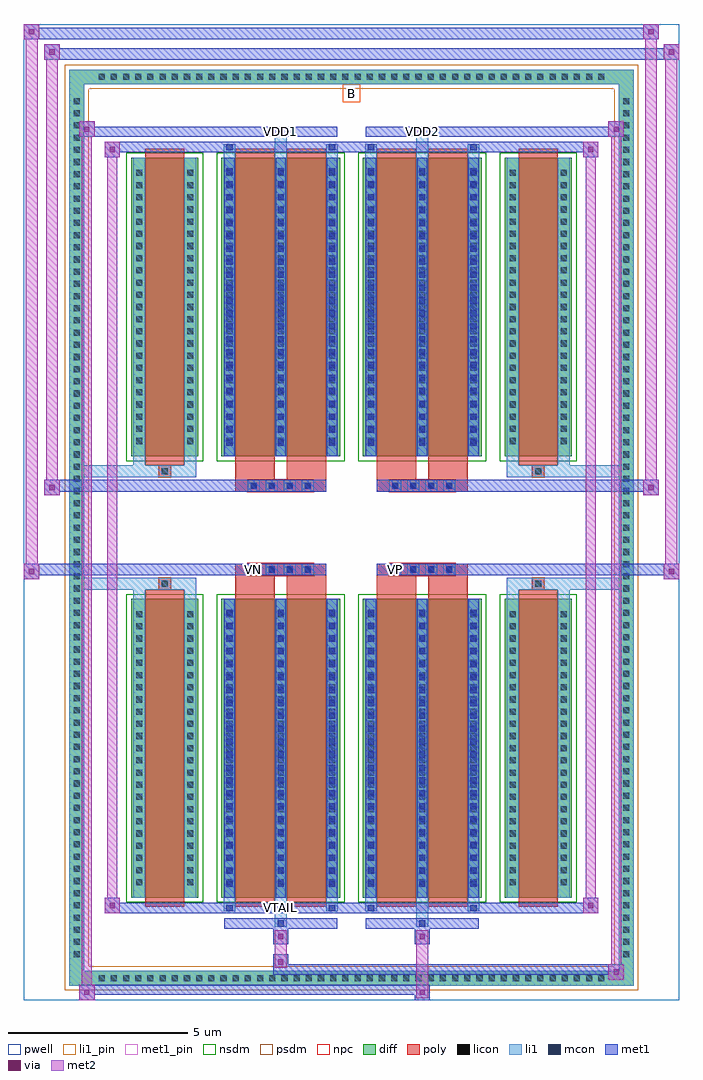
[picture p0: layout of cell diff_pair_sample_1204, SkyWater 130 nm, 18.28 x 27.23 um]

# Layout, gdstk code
import gdstk
lib = gdstk.Library(unit=1e-6, precision=5e-09)
def R(c, l, rs):  # rectangles x0, y0, x1, y1
    for r in rs: c.add(gdstk.rectangle(r[:2], r[2:], *l))
def A(c, l, x, y, w, h, nx, ny, dx, dy):  # array of equal rectangles
    R(c, l, [(x+i*dx, y+j*dy, x+i*dx+w, y+j*dy+h) for i in range(nx) for j in range(ny)])
def P(c, l, *ps):  # polygons
    for p in ps: c.add(gdstk.Polygon(p, *l))
pwell = (64, 44)
diff = (65, 20)
poly = (66, 20)
licon = (66, 44)
li1_pin = (67, 16)
li1 = (67, 20)
mcon = (67, 44)
met1_pin = (68, 16)
met1 = (68, 20)
via = (68, 44)
met2 = (69, 20)
nsdm = (93, 44)
psdm = (94, 20)
npc = (95, 20)

diff_pair_sample_1204 = lib.new_cell('diff_pair_sample_1204')
R(diff_pair_sample_1204, pwell, [(-9.14,-13.18,9.14,14.05), (-6.46,-11.37,-0.01,-0.805), (0.01,-11.37,6.46,-0.805), (-6.46,0.805,-0.01,11.37), (0.01,0.805,6.46,11.37)])
A(diff_pair_sample_1204, diff, -7.175, -12.78, 0.41, 0.41, 42, 2, 0.34, 25.15)
A(diff_pair_sample_1204, diff, -7.87, -12.105, 0.41, 0.41, 1, 71, 0, 0.34)
A(diff_pair_sample_1204, diff, 7.46, -12.105, 0.41, 0.41, 1, 71, 0, 0.34)
R(diff_pair_sample_1204, diff, [(-7.175,-12.78,7.175,-12.37), (-7.87,-12.105,-7.46,12.105), (7.46,-12.105,7.87,12.105), (-6.15,-10.325,-4.27,-1.985), (-3.63,-10.325,-0.32,-1.985), (0.32,-10.325,3.63,-1.985), (4.27,-10.325,6.15,-1.985), (-6.15,1.985,-4.27,10.325), (-3.63,1.985,-0.32,10.325), (0.32,1.985,3.63,10.325), (4.27,1.985,6.15,10.325), (-7.175,12.37,7.175,12.78)])
P(diff_pair_sample_1204, diff, [(7.87,12.78),(-7.87,12.78),(-7.87,-12.37),(-7.46,-12.37),(-7.46,12.37),(7.46,12.37),(7.46,-12.37),(-7.46,-12.37),(-7.87,-12.37),(-7.87,-12.78),(7.87,-12.78)])
A(diff_pair_sample_1204, poly, -2.89, -1.335, 0.33, 0.33, 4, 2, 0.5, 2.34)
A(diff_pair_sample_1204, poly, 1.06, -1.335, 0.33, 0.33, 4, 2, 0.5, 2.34)
R(diff_pair_sample_1204, poly, [(-5.76,-10.575,-4.66,-1.735), (-3.24,-10.575,-2.14,-1.735), (-1.81,-10.575,-0.71,-1.735), (0.71,-10.575,1.81,-1.735), (2.14,-10.575,3.24,-1.735), (4.66,-10.575,5.76,-1.735), (-5.375,-1.735,-5.045,-1.405), (-5.375,-1.735,-5.045,-1.405), (-3.24,-1.735,-2.14,-1.335), (-1.81,-1.735,-0.71,-1.335), (0.71,-1.735,1.81,-1.335), (2.14,-1.735,3.24,-1.335), (5.045,-1.735,5.375,-1.405), (5.045,-1.735,5.375,-1.405), (-3.24,-1.335,-0.71,-1.005), (0.71,-1.335,3.24,-1.005), (-3.24,1.005,-0.71,1.335), (0.71,1.005,3.24,1.335), (-3.24,1.335,-2.14,1.735), (-1.81,1.335,-0.71,1.735), (0.71,1.335,1.81,1.735), (2.14,1.335,3.24,1.735), (-5.375,1.405,-5.045,1.735), (-5.375,1.405,-5.045,1.735), (5.045,1.405,5.375,1.735), (5.045,1.405,5.375,1.735), (-5.76,1.735,-4.66,10.575), (-3.24,1.735,-2.14,10.575), (-1.81,1.735,-0.71,10.575), (0.71,1.735,1.81,10.575), (2.14,1.735,3.24,10.575), (4.66,1.735,5.76,10.575)])
A(diff_pair_sample_1204, licon, -7.055, -12.66, 0.17, 0.17, 42, 2, 0.34, 25.15)
A(diff_pair_sample_1204, licon, -7.75, -11.985, 0.17, 0.17, 1, 71, 0, 0.34)
A(diff_pair_sample_1204, licon, 7.58, -11.985, 0.17, 0.17, 1, 71, 0, 0.34)
A(diff_pair_sample_1204, licon, -6.01, -9.98, 0.17, 0.17, 1, 23, 0, 0.34)
A(diff_pair_sample_1204, licon, -4.58, -9.98, 0.17, 0.17, 1, 23, 0, 0.34)
A(diff_pair_sample_1204, licon, -3.49, -9.98, 0.17, 0.17, 3, 23, 1.43, 0.34)
A(diff_pair_sample_1204, licon, 0.46, -9.98, 0.17, 0.17, 3, 23, 1.43, 0.34)
A(diff_pair_sample_1204, licon, 4.41, -9.98, 0.17, 0.17, 1, 23, 0, 0.34)
A(diff_pair_sample_1204, licon, 5.84, -9.98, 0.17, 0.17, 1, 23, 0, 0.34)
A(diff_pair_sample_1204, licon, -2.81, -1.255, 0.17, 0.17, 4, 2, 0.5, 2.34)
A(diff_pair_sample_1204, licon, 1.14, -1.255, 0.17, 0.17, 4, 2, 0.5, 2.34)
A(diff_pair_sample_1204, licon, -6.01, 2.33, 0.17, 0.17, 1, 23, 0, 0.34)
A(diff_pair_sample_1204, licon, -4.58, 2.33, 0.17, 0.17, 1, 23, 0, 0.34)
A(diff_pair_sample_1204, licon, -3.49, 2.33, 0.17, 0.17, 3, 23, 1.43, 0.34)
A(diff_pair_sample_1204, licon, 0.46, 2.33, 0.17, 0.17, 3, 23, 1.43, 0.34)
A(diff_pair_sample_1204, licon, 4.41, 2.33, 0.17, 0.17, 1, 23, 0, 0.34)
A(diff_pair_sample_1204, licon, 5.84, 2.33, 0.17, 0.17, 1, 23, 0, 0.34)
R(diff_pair_sample_1204, licon, [(-5.295,-1.655,-5.125,-1.485), (5.125,-1.655,5.295,-1.485), (-5.295,1.485,-5.125,1.655), (5.125,1.485,5.295,1.655)])
R(diff_pair_sample_1204, li1_pin, [(-0.25,11.87,0.25,12.37)])
A(diff_pair_sample_1204, li1, -7.135, -12.74, 0.33, 0.33, 42, 2, 0.34, 25.15)
A(diff_pair_sample_1204, li1, -7.83, -12.065, 0.33, 0.33, 1, 71, 0, 0.34)
A(diff_pair_sample_1204, li1, 7.5, -12.065, 0.33, 0.33, 1, 71, 0, 0.34)
A(diff_pair_sample_1204, li1, -3.57, -10.325, 0.33, 8.34, 3, 2, 1.43, 12.31)
A(diff_pair_sample_1204, li1, 0.38, -10.325, 0.33, 8.34, 3, 2, 1.43, 12.31)
A(diff_pair_sample_1204, li1, -6.09, -10.06, 0.33, 0.33, 1, 23, 0, 0.34)
A(diff_pair_sample_1204, li1, -4.66, -10.06, 0.33, 0.33, 1, 23, 0, 0.34)
A(diff_pair_sample_1204, li1, -3.57, -10.06, 0.33, 0.33, 3, 23, 1.43, 0.34)
A(diff_pair_sample_1204, li1, 0.38, -10.06, 0.33, 0.33, 3, 23, 1.43, 0.34)
A(diff_pair_sample_1204, li1, 4.33, -10.06, 0.33, 0.33, 1, 23, 0, 0.34)
A(diff_pair_sample_1204, li1, 5.76, -10.06, 0.33, 0.33, 1, 23, 0, 0.34)
A(diff_pair_sample_1204, li1, -3.49, -10.02, 0.17, 0.17, 3, 22, 1.43, 0.36)
A(diff_pair_sample_1204, li1, -3.49, -10.02, 0.17, 7.73, 3, 2, 1.43, 12.31)
A(diff_pair_sample_1204, li1, 0.46, -10.02, 0.17, 0.17, 3, 22, 1.43, 0.36)
A(diff_pair_sample_1204, li1, 0.46, -10.02, 0.17, 7.73, 3, 2, 1.43, 12.31)
A(diff_pair_sample_1204, li1, -2.89, -1.335, 0.33, 0.33, 4, 2, 0.5, 2.34)
A(diff_pair_sample_1204, li1, 1.06, -1.335, 0.33, 0.33, 4, 2, 0.5, 2.34)
A(diff_pair_sample_1204, li1, -6.09, 2.25, 0.33, 0.33, 1, 23, 0, 0.34)
A(diff_pair_sample_1204, li1, -4.66, 2.25, 0.33, 0.33, 1, 23, 0, 0.34)
A(diff_pair_sample_1204, li1, -3.57, 2.25, 0.33, 0.33, 3, 23, 1.43, 0.34)
A(diff_pair_sample_1204, li1, 0.38, 2.25, 0.33, 0.33, 3, 23, 1.43, 0.34)
A(diff_pair_sample_1204, li1, 4.33, 2.25, 0.33, 0.33, 1, 23, 0, 0.34)
A(diff_pair_sample_1204, li1, 5.76, 2.25, 0.33, 0.33, 1, 23, 0, 0.34)
A(diff_pair_sample_1204, li1, -3.49, 2.29, 0.17, 0.17, 3, 22, 1.43, 0.36)
A(diff_pair_sample_1204, li1, 0.46, 2.29, 0.17, 0.17, 3, 22, 1.43, 0.36)
R(diff_pair_sample_1204, li1, [(-7.87,-12.78,-7.46,-12.37), (-7.87,-12.78,-7.46,-12.37), (-7.46,-12.78,7.46,-12.37), (7.46,-12.78,7.87,-12.37), (7.46,-12.78,7.87,-12.37), (-7.87,-12.37,-7.46,12.37), (7.46,-12.37,7.87,12.37), (-2.14,-11.13,-1.81,-10.325), (-2.06,-11.13,-1.89,-10.96), (1.81,-11.13,2.14,-10.325), (1.89,-11.13,2.06,-10.96), (-3.57,-10.7,-3.24,-10.325), (-3.49,-10.7,-3.32,-10.53), (-0.71,-10.7,-0.38,-10.325), (-0.63,-10.7,-0.46,-10.53), (0.38,-10.7,0.71,-10.325), (0.46,-10.7,0.63,-10.53), (3.24,-10.7,3.57,-10.325), (3.32,-10.7,3.49,-10.53), (-6.09,-10.325,-5.76,-1.985), (-4.66,-10.325,-4.33,-1.985), (4.33,-10.325,4.66,-1.985), (5.76,-10.325,6.09,-1.985), (-6.09,-1.985,-5.76,-1.405), (-4.66,-1.985,-4.33,-1.405), (4.33,-1.985,4.66,-1.405), (5.76,-1.985,6.09,-1.405), (-7.87,-1.735,-5.375,-1.405), (-6.09,-1.735,-5.375,-1.405), (-5.375,-1.735,-5.045,-1.405), (-5.045,-1.735,-4.33,-1.405), (4.33,-1.735,5.045,-1.405), (5.045,-1.735,5.375,-1.405), (5.045,-1.735,7.87,-1.405), (5.375,-1.735,6.09,-1.405), (-7.87,1.405,-5.375,1.735), (-6.09,1.405,-5.375,1.735), (-6.09,1.405,-5.76,1.985), (-5.375,1.405,-5.045,1.735), (-5.045,1.405,-4.33,1.735), (-4.66,1.405,-4.33,1.985), (4.33,1.405,5.045,1.735), (4.33,1.405,4.66,1.985), (5.045,1.405,5.375,1.735), (5.045,1.405,7.87,1.735), (5.375,1.405,6.09,1.735), (5.76,1.405,6.09,1.985), (-6.09,1.985,-5.76,10.325), (-4.66,1.985,-4.33,10.325), (4.33,1.985,4.66,10.325), (5.76,1.985,6.09,10.325), (-3.57,10.325,-3.24,10.7), (-2.14,10.325,-1.81,11.13), (-0.71,10.325,-0.38,10.7), (0.38,10.325,0.71,10.7), (1.81,10.325,2.14,11.13), (3.24,10.325,3.57,10.7), (-3.49,10.53,-3.32,10.7), (-0.63,10.53,-0.46,10.7), (0.46,10.53,0.63,10.7), (3.32,10.53,3.49,10.7), (-2.06,10.96,-1.89,11.13), (1.89,10.96,2.06,11.13), (-7.87,12.37,-7.46,12.78), (-7.87,12.37,-7.46,12.78), (-7.46,12.37,7.46,12.78), (7.46,12.37,7.87,12.78), (7.46,12.37,7.87,12.78)])
A(diff_pair_sample_1204, mcon, -3.49, -10.02, 0.17, 0.17, 3, 22, 1.43, 0.36)
A(diff_pair_sample_1204, mcon, 0.46, -10.02, 0.17, 0.17, 3, 22, 1.43, 0.36)
A(diff_pair_sample_1204, mcon, -2.81, -1.255, 0.17, 0.17, 4, 2, 0.5, 2.34)
A(diff_pair_sample_1204, mcon, 1.14, -1.255, 0.17, 0.17, 4, 2, 0.5, 2.34)
A(diff_pair_sample_1204, mcon, -3.49, 2.29, 0.17, 0.17, 3, 22, 1.43, 0.36)
A(diff_pair_sample_1204, mcon, 0.46, 2.29, 0.17, 0.17, 3, 22, 1.43, 0.36)
R(diff_pair_sample_1204, mcon, [(-2.06,-11.13,-1.89,-10.96), (1.89,-11.13,2.06,-10.96), (-3.49,-10.7,-3.32,-10.53), (-0.63,-10.7,-0.46,-10.53), (0.46,-10.7,0.63,-10.53), (3.32,-10.7,3.49,-10.53), (-3.49,10.53,-3.32,10.7), (-0.63,10.53,-0.46,10.7), (0.46,10.53,0.63,10.7), (3.32,10.53,3.49,10.7), (-2.06,10.96,-1.89,11.13), (1.89,10.96,2.06,11.13)])
R(diff_pair_sample_1204, met1_pin, [(-2.11,-10.74,-1.84,-10.47), (-2.86,-1.295,-2.59,-1.025), (1.09,-1.295,1.36,-1.025), (-2.11,10.92,-1.84,11.19), (1.84,10.92,2.11,11.19)])
A(diff_pair_sample_1204, met1, -3.55, -10.325, 0.29, 8.34, 3, 2, 1.43, 12.31)
A(diff_pair_sample_1204, met1, 0.4, -10.325, 0.29, 8.34, 3, 2, 1.43, 12.31)
A(diff_pair_sample_1204, met1, -3.55, -10.08, 0.29, 0.29, 3, 22, 1.43, 0.36)
A(diff_pair_sample_1204, met1, 0.4, -10.08, 0.29, 0.29, 3, 22, 1.43, 0.36)
A(diff_pair_sample_1204, met1, -2.87, -1.315, 0.29, 0.29, 4, 2, 0.5, 2.34)
A(diff_pair_sample_1204, met1, 1.08, -1.315, 0.29, 0.29, 4, 2, 0.5, 2.34)
A(diff_pair_sample_1204, met1, -3.55, 2.23, 0.29, 0.29, 3, 22, 1.43, 0.36)
A(diff_pair_sample_1204, met1, 0.4, 2.23, 0.29, 0.29, 3, 22, 1.43, 0.36)
R(diff_pair_sample_1204, met1, [(-7.6,-13.18,-7.17,-12.75), (1.76,-13.18,2.19,-12.75), (-7.6,-13.04,2.19,-12.75), (7.17,-12.61,7.6,-12.18), (-2.19,-12.47,7.6,-12.18), (-2.19,-12.33,-1.76,-11.9), (-2.19,-11.62,-1.76,-11.19), (1.76,-11.62,2.19,-11.19), (-3.55,-11.19,-0.4,-10.9), (-2.12,-11.19,-1.83,-10.9), (0.4,-11.19,3.55,-10.9), (1.83,-11.19,2.12,-10.9), (-6.89,-10.76,-6.46,-10.33), (-6.89,-10.76,-3.55,-10.47), (-3.55,-10.76,-3.26,-10.47), (-3.55,-10.76,-0.4,-10.47), (-0.69,-10.76,-0.4,-10.47), (-0.4,-10.76,0.4,-10.47), (0.4,-10.76,0.69,-10.47), (0.4,-10.76,3.55,-10.47), (3.26,-10.76,3.55,-10.47), (3.55,-10.76,6.89,-10.47), (6.46,-10.76,6.89,-10.33), (-9.14,-1.435,-8.71,-1.005), (8.71,-1.435,9.14,-1.005), (-9.14,-1.335,-0.71,-1.005), (-3.24,-1.335,-0.71,-1.005), (0.71,-1.335,3.24,-1.005), (0.71,-1.335,9.14,-1.005), (-8.57,0.905,-8.14,1.335), (8.14,0.905,8.57,1.335), (-8.57,1.005,-3.24,1.335), (-3.24,1.005,-0.71,1.335), (0.71,1.005,3.24,1.335), (3.24,1.005,8.57,1.335), (-6.89,10.33,-6.46,10.76), (6.46,10.33,6.89,10.76), (-6.89,10.47,-3.55,10.76), (-3.55,10.47,-3.26,10.76), (-3.55,10.47,-0.4,10.76), (-0.69,10.47,-0.4,10.76), (-0.4,10.47,0.4,10.76), (0.4,10.47,0.69,10.76), (0.4,10.47,3.55,10.76), (3.26,10.47,3.55,10.76), (3.55,10.47,6.89,10.76), (-7.6,10.9,-7.17,11.33), (-7.6,10.9,-3.55,11.19), (-3.55,10.9,-0.4,11.19), (-2.12,10.9,-1.83,11.19), (0.4,10.9,3.55,11.19), (1.83,10.9,2.12,11.19), (3.55,10.9,7.6,11.19), (7.17,10.9,7.6,11.33), (-8.57,13.05,-8.14,13.48), (-8.57,13.05,-6.46,13.38), (-6.46,13.05,6.46,13.38), (6.46,13.05,9.14,13.38), (8.71,13.05,9.14,13.48), (-9.14,13.62,-8.71,14.05), (-9.14,13.62,-6.46,13.95), (-6.46,13.62,6.46,13.95), (6.46,13.62,8.57,13.95), (8.14,13.62,8.57,14.05)])
R(diff_pair_sample_1204, via, [(-7.46,-13.04,-7.31,-12.89), (1.9,-13.04,2.05,-12.89), (7.31,-12.47,7.46,-12.32), (-2.05,-12.19,-1.9,-12.04), (-2.05,-11.48,-1.9,-11.33), (1.9,-11.48,2.05,-11.33), (-6.75,-10.62,-6.6,-10.47), (6.6,-10.62,6.75,-10.47), (-9,-1.295,-8.85,-1.145), (8.85,-1.295,9,-1.145), (-8.43,1.045,-8.28,1.195), (8.28,1.045,8.43,1.195), (-6.75,10.47,-6.6,10.62), (6.6,10.47,6.75,10.62), (-7.46,11.04,-7.31,11.19), (7.31,11.04,7.46,11.19), (-8.43,13.19,-8.28,13.34), (8.85,13.19,9,13.34), (-9,13.76,-8.85,13.91), (8.28,13.76,8.43,13.91)])
R(diff_pair_sample_1204, met2, [(-7.6,-13.18,-7.17,-12.75), (-7.53,-13.18,-7.24,11.33), (-7.24,-13.18,-7.17,-12.75), (-7.55,-13.13,-7.22,-12.8), (1.81,-13.13,2.14,-12.8), (1.81,-12.8,2.14,-11.57), (7.17,-12.61,7.6,-12.18), (7.24,-12.61,7.53,11.33), (7.53,-12.61,7.6,-12.18), (7.22,-12.56,7.55,-12.23), (-2.14,-12.28,-1.81,-11.95), (-2.14,-11.95,-1.81,-11.57), (-2.14,-11.57,-1.81,-11.24), (1.81,-11.57,2.14,-11.24), (-6.89,-10.76,-6.46,-10.33), (-6.82,-10.76,-6.53,10.76), (-6.53,-10.76,-6.46,-10.33), (6.46,-10.76,6.89,-10.33), (6.53,-10.76,6.82,10.76), (6.82,-10.76,6.89,-10.33), (-6.84,-10.71,-6.51,-10.38), (6.51,-10.71,6.84,-10.38), (-9.14,-1.435,-8.71,-1.005), (-9.09,-1.435,-8.76,14.05), (-8.76,-1.435,-8.71,-1.005), (8.71,-1.435,9.14,-1.005), (8.76,-1.435,9.09,13.48), (9.09,-1.435,9.14,-1.005), (-9.09,-1.385,-8.76,-1.055), (8.76,-1.385,9.09,-1.055), (-8.57,0.905,-8.14,1.335), (-8.52,0.905,-8.19,13.48), (-8.19,0.905,-8.14,1.335), (8.14,0.905,8.57,1.335), (8.19,0.905,8.52,14.05), (8.52,0.905,8.57,1.335), (-8.52,0.955,-8.19,1.285), (8.19,0.955,8.52,1.285), (-6.89,10.33,-6.46,10.76), (-6.53,10.33,-6.46,10.76), (6.46,10.33,6.89,10.76), (6.82,10.33,6.89,10.76), (-6.84,10.38,-6.51,10.71), (6.51,10.38,6.84,10.71), (-7.6,10.9,-7.17,11.33), (-7.24,10.9,-7.17,11.33), (7.17,10.9,7.6,11.33), (7.53,10.9,7.6,11.33), (-7.55,10.95,-7.22,11.28), (7.22,10.95,7.55,11.28), (-8.57,13.05,-8.14,13.48), (-8.19,13.05,-8.14,13.48), (8.71,13.05,9.14,13.48), (9.09,13.05,9.14,13.48), (-8.52,13.1,-8.19,13.43), (8.76,13.1,9.09,13.43), (-9.14,13.62,-8.71,14.05), (-8.76,13.62,-8.71,14.05), (8.14,13.62,8.57,14.05), (8.52,13.62,8.57,14.05), (-9.09,13.67,-8.76,14), (8.19,13.67,8.52,14)])
R(diff_pair_sample_1204, nsdm, [(-6.28,-10.455,-4.14,-1.855), (-3.76,-10.455,-0.19,-1.855), (0.19,-10.455,3.76,-1.855), (4.14,-10.455,6.28,-1.855), (-6.28,1.855,-4.14,10.455), (-3.76,1.855,-0.19,10.455), (0.19,1.855,3.76,10.455), (4.14,1.855,6.28,10.455)])
P(diff_pair_sample_1204, psdm, [(8,12.91),(-8,12.91),(-8,-12.24),(-7.33,-12.24),(-7.33,12.24),(7.33,12.24),(7.33,-12.24),(-7.33,-12.24),(-8,-12.24),(-8,-12.91),(8,-12.91)])
A(diff_pair_sample_1204, npc, -2.91, -1.355, 0.37, 0.37, 4, 2, 0.5, 2.34)
A(diff_pair_sample_1204, npc, 1.04, -1.355, 0.37, 0.37, 4, 2, 0.5, 2.34)
R(diff_pair_sample_1204, npc, [(-5.395,-1.755,-5.025,-1.385), (5.025,-1.755,5.395,-1.385), (-2.91,-1.355,-2.04,-0.985), (-2.91,-1.355,-2.04,-0.985), (-2.41,-1.355,-1.54,-0.985), (-2.41,-1.355,-1.54,-0.985), (-1.91,-1.355,-1.04,-0.985), (-1.91,-1.355,-1.04,-0.985), (1.04,-1.355,1.91,-0.985), (1.04,-1.355,1.91,-0.985), (1.54,-1.355,2.41,-0.985), (1.54,-1.355,2.41,-0.985), (2.04,-1.355,2.91,-0.985), (2.04,-1.355,2.91,-0.985), (-2.91,0.985,-2.04,1.355), (-2.91,0.985,-2.04,1.355), (-2.41,0.985,-1.54,1.355), (-2.41,0.985,-1.54,1.355), (-1.91,0.985,-1.04,1.355), (-1.91,0.985,-1.04,1.355), (1.04,0.985,1.91,1.355), (1.04,0.985,1.91,1.355), (1.54,0.985,2.41,1.355), (1.54,0.985,2.41,1.355), (2.04,0.985,2.91,1.355), (2.04,0.985,2.91,1.355), (-5.395,1.385,-5.025,1.755), (5.025,1.385,5.395,1.755)])
diff_pair_sample_1204.add(gdstk.Label('VTAIL', (-1.975,-10.605), layer=68, texttype=5))
diff_pair_sample_1204.add(gdstk.Label('VN', (-2.725,-1.16), layer=68, texttype=5))
diff_pair_sample_1204.add(gdstk.Label('VP', (1.225,-1.16), layer=68, texttype=5))
diff_pair_sample_1204.add(gdstk.Label('B', (0,12.12), layer=67, texttype=5))
diff_pair_sample_1204.add(gdstk.Label('VDD2', (1.975,11.055), layer=68, texttype=5))
diff_pair_sample_1204.add(gdstk.Label('VDD1', (-1.975,11.055), layer=68, texttype=5))

lib.write_gds('diff_pair_sample_1204.gds')
